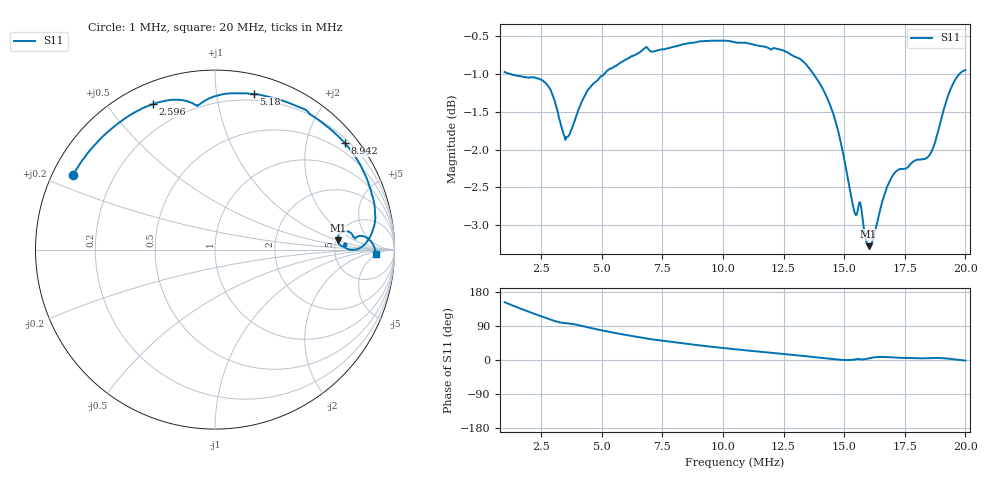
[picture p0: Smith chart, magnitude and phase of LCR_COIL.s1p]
!Keysight Technologies N9918A: A.12.56
!Date: Monday, 21 July 2025 02:45:00
!TimeZone: (UTC-08:00) Pacific Time (US & Canada)!Model: N9918A
!Serial: MY56072139
!GPS Latitude:
!GPS Longitude:
!GPS TimeStamp: 0001-01-01 00:00:00Z
!GPS Seconds Since Last Read: 0
!CHECKSUM:0853722636
!Correction: S11(ON U)
!S1P File: Measurement: S11:
# Hz S DB R 50
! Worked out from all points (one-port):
!   501 points, 1 MHz to 20 MHz, reference 50 ohm
!   lowest |S11| = -3.3 dB at 16.01 MHz (marker M1), VSWR 5.37, Z = 258 + j49.7 ohm
!   |S11| at or under -10 dB: nowhere
!   S11 on the Smith chart (normalised r, x): 1 MHz: 0.06, +0.24; 2.596 MHz: 0.09, +0.66; 5.18 MHz: 0.15, +1.27; 8.942 MHz: 0.29, +2.77; 20 MHz: 17, -4
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1000000  -0.98 152.4
1836000  -1.05 131.2
2596000  -1.09 113.2
2976000  -1.28 104.6
3394000  -1.76 98.1
3584000  -1.83 96.8
3964000  -1.55 93.2
4458000  -1.20 85.9
5180000  -0.98 76.0
5750000  -0.86 69.0
6890000  -0.66 56.3
8144000  -0.63 45.5
8942000  -0.58 39.3
1.05e7  -0.58 28.3
1.2894e7  -0.76 13.4
1.4262e7  -1.29 4.2
1.487e7  -1.92 0.4
1.525e7  -2.55 0.0
1.5554e7  -2.81 2.7
1.5782e7  -2.97 1.4
1.601e7  -3.28 4.3
1.6542e7  -2.72 8.0
1.7074e7  -2.31 6.7
1.7644e7  -2.23 5.3
1.8556e7  -2.05 4.9
1.9012e7  -1.59 5.1
1.9506e7  -1.12 2.1
2e7  -0.95 -1.5
